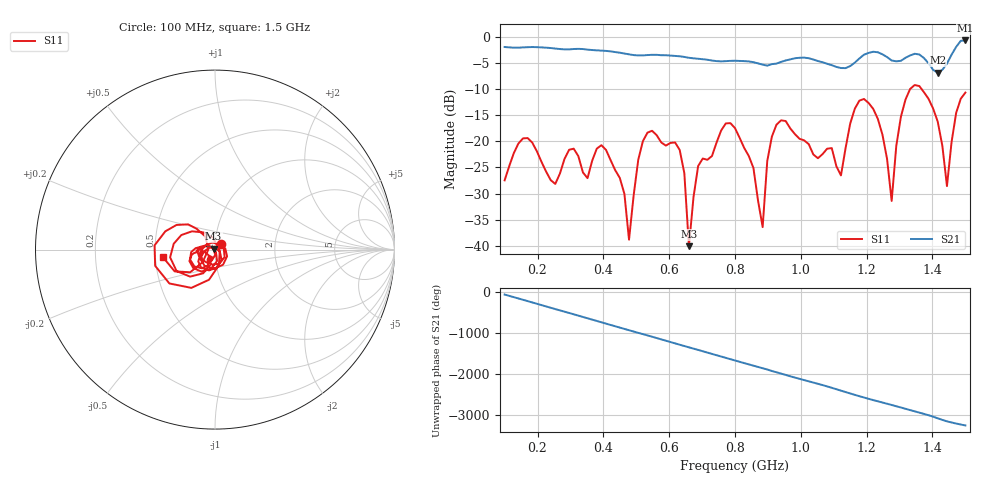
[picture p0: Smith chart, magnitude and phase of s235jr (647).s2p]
! NanoVNA-App
! Date: 2025-09-25 15:09:12
! Start: 100MHz Stop: 1,5GHz Points: 101
! S-Parameter data: F S11 S21 S12 S22
# Hz S RI R 50
!  Frequency  S11_Real  S11_Imag  S21_Real  S21_Imag  S12_Real  S12_Imag  S22_Real  S22_Imag
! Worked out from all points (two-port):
!   101 points, 100 MHz to 1.5 GHz, reference 50 ohm
!   highest |S21| = -0.71 dB at 1.5 GHz (marker M1); lowest = -6.9 dB at 1.416 GHz (marker M2)
!   |S21| within 3 dB of the highest: start of sweep to 626.3 MHz; 1.187 GHz to 1.257 GHz (70.61 MHz wide, 5.78 % of centre) (the widest 2 of 4)
!   lowest |S11| = -40.1 dB at 660 MHz (marker M3), VSWR 1.02, Z = 49.2 + j0.551 ohm
!   |S11| at or under -10 dB: start of sweep to 1.332 GHz; 1.367 GHz to end of sweep
!   S12 and S22 are empty: the file has one direction only
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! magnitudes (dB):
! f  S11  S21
! 100 MHz  -27.5  -2.0
! 156 MHz  -19.4  -2.0
! 338 MHz  -26.0  -2.4
! 408 MHz  -21.6  -2.7
! 478 MHz  -38.8  -3.4
! 520 MHz  -20.0  -3.6
! 576 MHz  -20.2  -3.5
! 632 MHz  -21.7  -3.7
! 660 MHz  -40.1  -4.0
! 688 MHz  -24.7  -4.2
! 800 MHz  -17.5  -4.6
! 884 MHz  -36.4  -5.3
! 926 MHz  -16.8  -5.1
! 1.038 GHz  -22.5  -4.4
! 1.122 GHz  -26.5  -6.0
! 1.192 GHz  -11.9  -3.4
! 1.248 GHz  -18.7  -3.4
! 1.276 GHz  -31.4  -4.5
! 1.332 GHz  -10.0  -3.6
! 1.416 GHz  -16.3  -6.9
! 1.444 GHz  -28.6  -5.1
! 1.5 GHz  -10.7  -0.7
